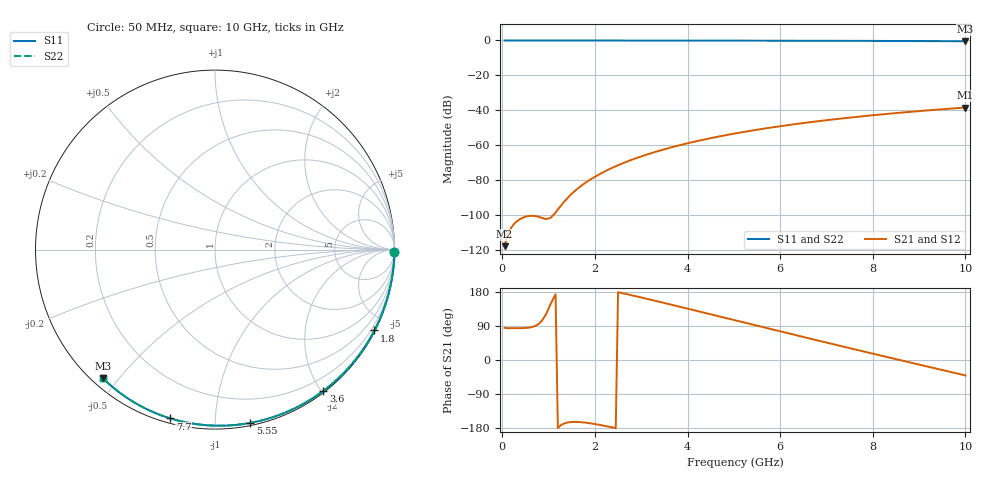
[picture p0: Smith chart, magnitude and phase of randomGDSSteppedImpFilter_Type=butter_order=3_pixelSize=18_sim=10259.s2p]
! freq	dB(S11)	phase(S11)	dB(S12)	phase(S12)
!  dB(S21)	phase(S21)	dB(S22)	phase(S22)
!S-par simulation data
#  GHz  S  DB  R 50
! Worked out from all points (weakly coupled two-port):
!   200 points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, 50 MHz to 10 GHz, reference 50 ohm
!   highest |S21| = -38.44 dB at 10 GHz (marker M1); lowest = -117.9 dB at 50 MHz (marker M2)
!   lowest |S11| = -0.4 dB at 10 GHz (marker M3), VSWR 39.15, Z = 1.54 - j22.7 ohm
!   |S11| at or under -10 dB: nowhere
!   |S22| runs from -0.4 to 0.0 dB; largest |S21 - S12| = 0
!   S11 on the Smith chart (normalised r, x): 50 MHz: open; 1.8 GHz: 0.04, -4.19; 3.6 GHz: 0.02, -2.03; 5.55 GHz: 0.02, -1.22; 7.7 GHz: 0.02, -0.77; 10 GHz: 0.03, -0.45
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0.05  -0.00 -0.8  -117.87 84.8  -117.87 84.8  -0.00 -0.8
0.9  -0.02 -13.6  -102.04 112.0  -102.04 112.0  -0.02 -13.6
1.75  -0.03 -26.1  -82.38 -164.6  -82.38 -164.6  -0.03 -26.1
1.8  -0.03 -26.9  -81.45 -165.3  -81.45 -165.3  -0.03 -26.9
1.85  -0.04 -27.6  -80.56 -166.1  -80.56 -166.1  -0.04 -27.6
1.9  -0.04 -28.3  -79.71 -167.0  -79.71 -167.0  -0.04 -28.3
2.05  -0.04 -30.5  -77.33 -170.0  -77.33 -170.0  -0.04 -30.5
2.25  -0.04 -33.4  -74.53 -174.7  -74.53 -174.7  -0.04 -33.4
2.45  -0.05 -36.3  -72.06 -179.8  -72.06 -179.8  -0.05 -36.3
2.65  -0.05 -39.2  -69.84 174.9  -69.84 174.9  -0.05 -39.2
3  -0.06 -44.1  -66.43 165.0  -66.43 165.0  -0.06 -44.1
3.4  -0.07 -49.8  -63.10 153.4  -63.10 153.4  -0.07 -49.8
3.6  -0.07 -52.5  -61.61 147.5  -61.61 147.5  -0.07 -52.5
4.3  -0.09 -62.1  -57.10 126.6  -57.10 126.6  -0.09 -62.1
5.05  -0.11 -72.0  -53.17 104.1  -53.17 104.1  -0.11 -72.0
5.55  -0.13 -78.5  -50.93 89.1  -50.93 89.1  -0.13 -78.5
6.1  -0.15 -85.4  -48.75 72.6  -48.75 72.6  -0.15 -85.4
6.7  -0.18 -92.8  -46.65 54.8  -46.65 54.8  -0.18 -92.8
7.7  -0.24 -104.8  -43.65 25.4  -43.65 25.4  -0.24 -104.8
8.35  -0.29 -112.4  -41.97 6.6  -41.97 6.6  -0.29 -112.4
9.15  -0.36 -121.5  -40.14 -16.4  -40.14 -16.4  -0.36 -121.5
10  -0.44 -131.1  -38.44 -40.7  -38.44 -40.7  -0.44 -131.1
